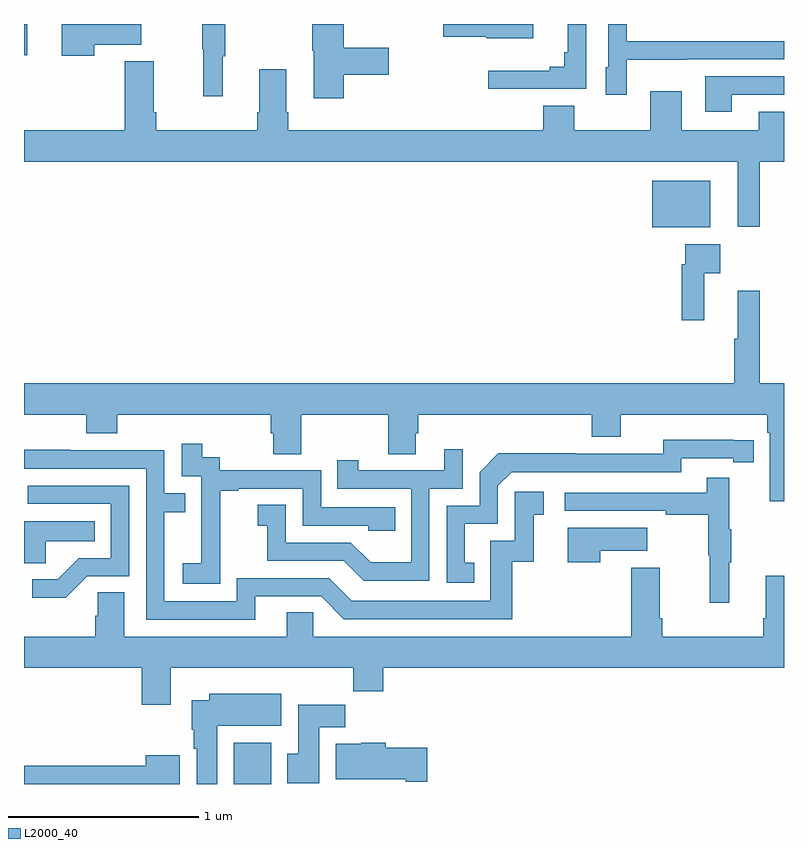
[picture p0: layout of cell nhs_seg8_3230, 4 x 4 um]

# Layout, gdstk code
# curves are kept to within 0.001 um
import gdstk
lib = gdstk.Library(unit=1e-6, precision=1e-09)
def R(c, l, rs):  # rectangles x0, y0, x1, y1
    for r in rs: c.add(gdstk.rectangle(r[:2], r[2:], *l))
def P(c, l, *ps):  # polygons
    for p in ps: c.add(gdstk.Polygon(p, *l))
L2000_40 = (2000, 40)

nhs_seg8_3230 = lib.new_cell('nhs_seg8_3230')
R(nhs_seg8_3230, L2000_40, [(312.104,1103.9,312.301,1104.118), (314.306,1106.831,314.611,1107.076), (311,1107.735,311.018,1107.9), (314.279,1107.899,314.518,1107.9), (314.612,1107.899,314.89,1107.9)])
P(nhs_seg8_3230, L2000_40, [(311.369,1107.791),(311.617,1107.791),(311.617,1107.9),(311.198,1107.9),(311.198,1107.732),(311.369,1107.732)],
  [(313.681,1107.9),(313.206,1107.9),(313.206,1107.833),(313.434,1107.833),(313.434,1107.824),(313.681,1107.824)],
  [(312.683,1107.634),(312.919,1107.634),(312.919,1107.776),(312.683,1107.776),(312.683,1107.9),(312.517,1107.9),(312.517,1107.759),(312.524,1107.759),(312.524,1107.51),(312.683,1107.51)],
  [(312.047,1107.731),(312.058,1107.731),(312.058,1107.9),(311.937,1107.9),(311.937,1107.768),(311.944,1107.768),(311.944,1107.519),(312.047,1107.519)],
  [(313.959,1107.9),(313.862,1107.9),(313.862,1107.751),(313.843,1107.751),(313.843,1107.674),(313.766,1107.674),(313.766,1107.655),(313.443,1107.655),(313.443,1107.558),(313.959,1107.558)],
  [(314.172,1107.713),(314.489,1107.713),(314.489,1107.714),(315,1107.714),(315,1107.81),(314.172,1107.81),(314.172,1107.9),(314.076,1107.9),(314.076,1107.672),(314.063,1107.672),(314.063,1107.528),(314.172,1107.528)],
  [(314.873,1107.176),(315,1107.176),(315,1107.439),(314.867,1107.439),(314.867,1107.34),(314.461,1107.34),(314.461,1107.547),(314.297,1107.547),(314.297,1107.34),(313.897,1107.34),(313.897,1107.469),(313.733,1107.469),(313.733,1107.34),(312.392,1107.34),(312.392,1107.436),(312.379,1107.436),(312.379,1107.661),(312.239,1107.661),(312.239,1107.436),(312.227,1107.436),(312.227,1107.34),(311.696,1107.34),(311.696,1107.436),(311.683,1107.436),(311.683,1107.703),(311.531,1107.703),(311.531,1107.34),(311,1107.34),(311,1107.176),(314.756,1107.176),(314.756,1106.832),(314.873,1106.832)],
  [(314.725,1107.528),(315,1107.528),(315,1107.624),(314.585,1107.624),(314.585,1107.438),(314.725,1107.438)],
  [(314.579,1106.588),(314.665,1106.588),(314.665,1106.74),(314.481,1106.74),(314.481,1106.636),(314.461,1106.636),(314.461,1106.34),(314.579,1106.34)],
  [(315,1106.008),(314.873,1106.008),(314.873,1106.497),(314.756,1106.497),(314.756,1106.244),(314.737,1106.244),(314.737,1106.008),(311,1106.008),(311,1105.844),(311.327,1105.844),(311.327,1105.745),(311.492,1105.745),(311.492,1105.844),(312.299,1105.844),(312.299,1105.746),(312.311,1105.746),(312.311,1105.636),(312.459,1105.636),(312.459,1105.844),(312.916,1105.844),(312.916,1105.636),(313.063,1105.636),(313.063,1105.746),(313.076,1105.746),(313.076,1105.844),(313.988,1105.844),(313.988,1105.727),(314.14,1105.727),(314.14,1105.844),(314.912,1105.844),(314.912,1105.748),(314.925,1105.748),(314.925,1105.389),(315,1105.389)],
  [(313.37,1105.065),(313.321,1105.065),(313.321,1105.269),(313.494,1105.269),(313.494,1105.47),(313.566,1105.542),(314.46,1105.542),(314.46,1105.614),(314.732,1105.614),(314.732,1105.594),(314.84,1105.594),(314.84,1105.71),(314.364,1105.711),(314.364,1105.638),(313.904,1105.638),(313.904,1105.64),(313.496,1105.64),(313.398,1105.542),(313.398,1105.365),(313.224,1105.365),(313.224,1104.96),(313.37,1104.96)],
  [(312.033,1105.159),(312.032,1105.159),(312.032,1105.443),(312.127,1105.443),(312.127,1105.455),(312.468,1105.455),(312.468,1105.26),(312.813,1105.26),(312.813,1105.233),(312.953,1105.233),(312.953,1105.356),(312.564,1105.356),(312.564,1105.551),(312.03,1105.551),(312.03,1105.62),(311.938,1105.62),(311.938,1105.69),(311.829,1105.69),(311.829,1105.521),(311.934,1105.521),(311.934,1105.292),(311.933,1105.292),(311.933,1105.063),(311.835,1105.063),(311.835,1104.953),(312.033,1104.953)],
  [(313.134,1105.455),(313.308,1105.455),(313.308,1105.663),(313.211,1105.663),(313.211,1105.551),(312.76,1105.551),(312.76,1105.603),(312.649,1105.603),(312.649,1105.455),(313.038,1105.455),(313.038,1105.066),(312.824,1105.066),(312.72,1105.17),(312.378,1105.17),(312.378,1105.369),(312.231,1105.369),(312.231,1105.259),(312.28,1105.259),(312.28,1105.074),(312.683,1105.074),(312.788,1104.969),(313.134,1104.969)],
  [(312.217,1104.888),(312.564,1104.888),(312.684,1104.768),(313.571,1104.768),(313.571,1105.071),(313.682,1105.071),(313.682,1105.317),(313.735,1105.317),(313.735,1105.438),(313.584,1105.438),(313.584,1105.179),(313.455,1105.179),(313.455,1104.864),(312.726,1104.864),(312.606,1104.984),(312.12,1104.984),(312.12,1104.861),(311.739,1104.861),(311.739,1105.33),(311.849,1105.33),(311.849,1105.431),(311.739,1105.431),(311.739,1105.656),(311.243,1105.656),(311.243,1105.658),(311,1105.658),(311,1105.56),(311.643,1105.56),(311.643,1104.765),(312.217,1104.765)],
  [(314.711,1105.067),(314.722,1105.067),(314.722,1105.241),(314.711,1105.241),(314.711,1105.513),(314.593,1105.513),(314.593,1105.434),(313.845,1105.434),(313.845,1105.338),(314.377,1105.338),(314.377,1105.318),(314.601,1105.318),(314.601,1105.104),(314.608,1105.104),(314.608,1104.855),(314.711,1104.855)],
  [(311.334,1104.993),(311.553,1104.993),(311.553,1105.47),(311.019,1105.47),(311.019,1105.374),(311.457,1105.374),(311.457,1105.089),(311.288,1105.089),(311.177,1104.978),(311.043,1104.978),(311.043,1104.881),(311.221,1104.881)],
  [(311.115,1105.178),(311.372,1105.178),(311.372,1105.282),(311,1105.282),(311,1105.063),(311.115,1105.063)],
  [(314.033,1105.127),(314.281,1105.127),(314.281,1105.249),(313.862,1105.249),(313.862,1105.068),(314.033,1105.068)],
  [(311.773,1104.512),(312.733,1104.512),(312.733,1104.388),(312.89,1104.388),(312.89,1104.512),(315,1104.512),(315,1104.997),(314.903,1104.997),(314.903,1104.772),(314.891,1104.772),(314.891,1104.676),(314.36,1104.676),(314.36,1104.772),(314.347,1104.772),(314.347,1105.039),(314.195,1105.039),(314.195,1104.676),(312.522,1104.676),(312.522,1104.803),(312.383,1104.803),(312.383,1104.676),(311.527,1104.676),(311.527,1104.908),(311.388,1104.908),(311.388,1104.785),(311.375,1104.785),(311.375,1104.676),(311,1104.676),(311,1104.512),(311.621,1104.512),(311.621,1104.318),(311.773,1104.318)],
  [(312.016,1104.206),(312.355,1104.206),(312.355,1104.376),(311.975,1104.376),(311.975,1104.34),(311.882,1104.34),(311.882,1104.186),(311.894,1104.186),(311.894,1104.086),(311.909,1104.086),(311.909,1103.9),(312.016,1103.9)],
  [(312.553,1104.2),(312.692,1104.2),(312.692,1104.318),(312.443,1104.318),(312.443,1104.06),(312.386,1104.06),(312.386,1103.904),(312.553,1103.904)],
  [(313.123,1104.09),(312.905,1104.09),(312.905,1104.118),(312.774,1104.118),(312.774,1104.112),(312.641,1104.112),(312.641,1103.924),(313.01,1103.924),(313.01,1103.912),(313.123,1103.912)],
  [(311.821,1104.052),(311.642,1104.052),(311.642,1103.996),(311,1103.996),(311,1103.9),(311.821,1103.9)])

lib.write_gds('nhs_seg8_3230.gds')
